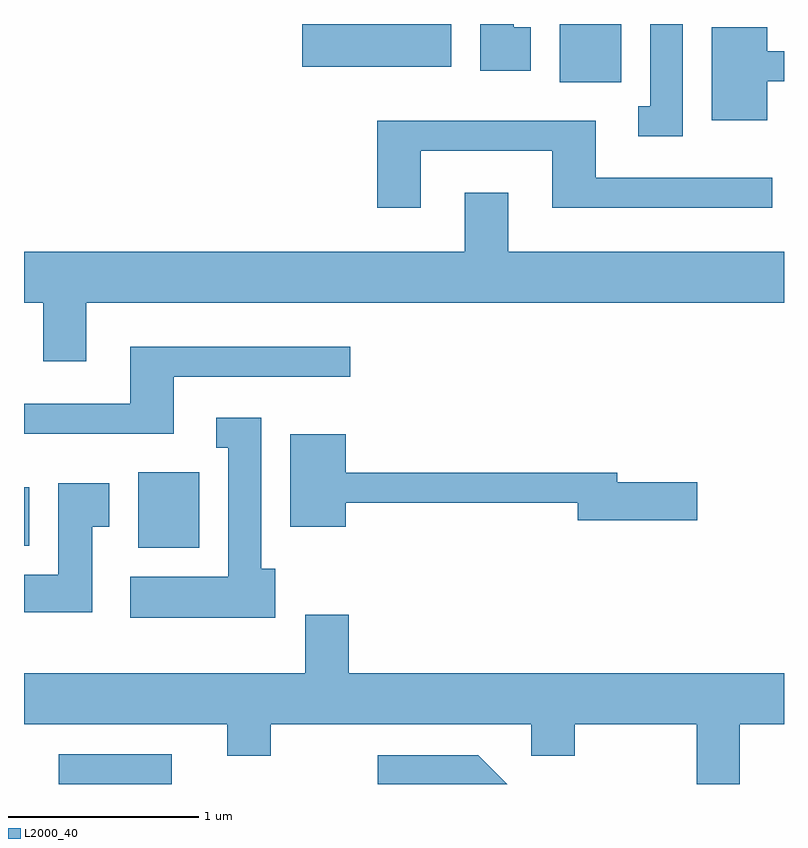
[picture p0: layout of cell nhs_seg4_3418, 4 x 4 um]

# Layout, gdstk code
import gdstk
lib = gdstk.Library(unit=1e-6, precision=1e-09)
def R(c, l, rs):  # rectangles x0, y0, x1, y1
    for r in rs: c.add(gdstk.rectangle(r[:2], r[2:], *l))
def P(c, l, *ps):  # polygons
    for p in ps: c.add(gdstk.Polygon(p, *l))
L2000_40 = (2000, 40)

nhs_seg4_3418 = lib.new_cell('nhs_seg4_3418')
R(nhs_seg4_3418, L2000_40, [(285.793,1289.982,286.389,1290.139), (286.211,1291.226,286.534,1291.624), (285.611,1291.236,285.639,1291.544), (288.431,1293.676,288.754,1293.982), (287.076,1293.756,287.859,1293.982)])
P(nhs_seg4_3418, L2000_40, [(288.279,1293.964),(288.189,1293.964),(288.189,1293.982),(288.011,1293.982),(288.011,1293.736),(288.279,1293.736)],
  [(289.079,1293.982),(288.906,1293.982),(288.906,1293.549),(288.843,1293.549),(288.843,1293.391),(289.079,1293.391)],
  [(289.524,1293.681),(289.611,1293.681),(289.611,1293.839),(289.524,1293.839),(289.524,1293.964),(289.231,1293.964),(289.231,1293.476),(289.524,1293.476)],
  [(287.699,1293.316),(288.391,1293.316),(288.391,1293.016),(289.548,1293.016),(289.548,1293.174),(288.619,1293.174),(288.619,1293.474),(287.471,1293.474),(287.471,1293.016),(287.699,1293.016)],
  [(285.939,1292.516),(289.611,1292.516),(289.611,1292.784),(288.159,1292.784),(288.159,1293.094),(287.931,1293.094),(287.931,1292.784),(285.611,1292.784),(285.611,1292.516),(285.711,1292.516),(285.711,1292.206),(285.939,1292.206)],
  [(286.399,1292.126),(287.328,1292.126),(287.328,1292.284),(286.171,1292.284),(286.171,1291.984),(285.611,1291.984),(285.611,1291.826),(286.399,1291.826)],
  [(286.934,1291.114),(286.859,1291.114),(286.859,1291.909),(286.623,1291.909),(286.623,1291.751),(286.686,1291.751),(286.686,1291.074),(286.171,1291.074),(286.171,1290.856),(286.934,1290.856)],
  [(287.304,1291.461),(288.526,1291.461),(288.526,1291.371),(289.154,1291.371),(289.154,1291.569),(288.734,1291.569),(288.734,1291.619),(287.304,1291.619),(287.304,1291.824),(287.011,1291.824),(287.011,1291.336),(287.304,1291.336)],
  [(285.969,1291.336),(286.059,1291.336),(286.059,1291.564),(285.791,1291.564),(285.791,1291.084),(285.611,1291.084),(285.611,1290.886),(285.969,1290.886)],
  [(289.379,1290.296),(289.611,1290.296),(289.611,1290.564),(287.319,1290.564),(287.319,1290.874),(287.091,1290.874),(287.091,1290.564),(285.611,1290.564),(285.611,1290.296),(286.681,1290.296),(286.681,1290.131),(286.909,1290.131),(286.909,1290.296),(288.281,1290.296),(288.281,1290.131),(288.509,1290.131),(288.509,1290.296),(289.151,1290.296),(289.151,1289.982),(289.379,1289.982)],
  [(288.002,1290.134),(287.473,1290.134),(287.473,1289.982),(288.154,1289.982)])

lib.write_gds('nhs_seg4_3418.gds')
